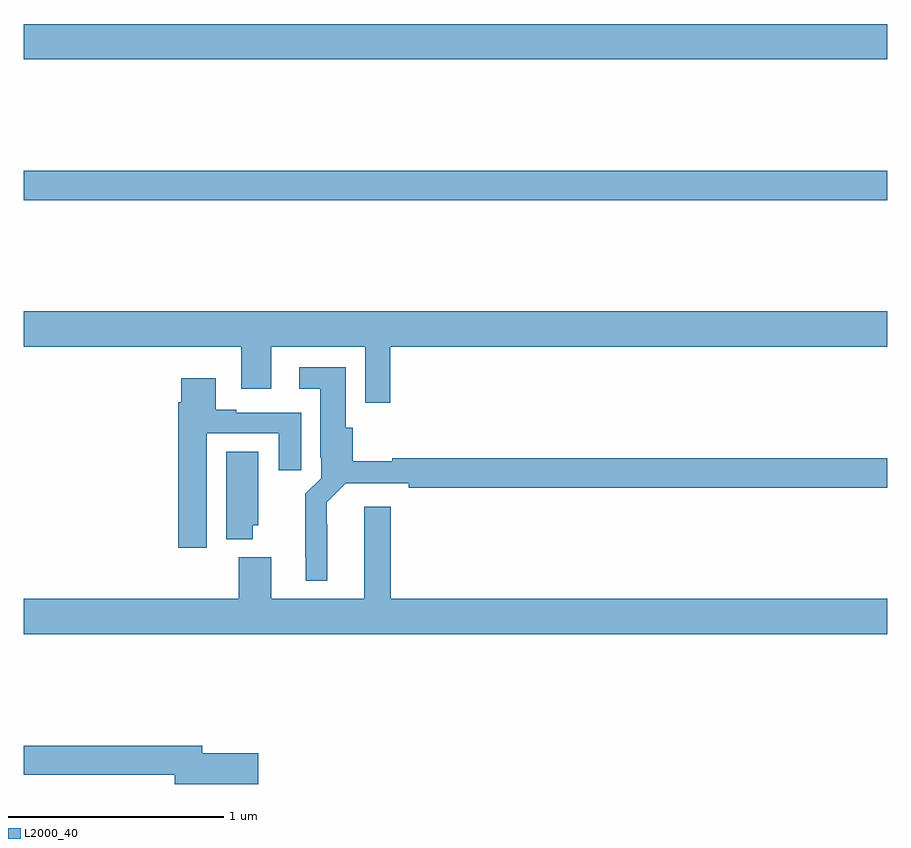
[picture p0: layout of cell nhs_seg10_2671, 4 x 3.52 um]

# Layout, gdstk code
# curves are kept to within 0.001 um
import gdstk
lib = gdstk.Library(unit=1e-6, precision=1e-09)
def R(c, l, rs):  # rectangles x0, y0, x1, y1
    for r in rs: c.add(gdstk.rectangle(r[:2], r[2:], *l))
def P(c, l, *ps):  # polygons
    for p in ps: c.add(gdstk.Polygon(p, *l))
L2000_40 = (2000, 40)

nhs_seg10_2671 = lib.new_cell('nhs_seg10_2671')
R(nhs_seg10_2671, L2000_40, [(255,1315.648,259,1315.784), (255,1316.3,259,1316.464)])
P(nhs_seg10_2671, L2000_40, [(256.697,1314.968),(259,1314.968),(259,1315.132),(255,1315.132),(255,1314.968),(256.007,1314.968),(256.007,1314.774),(256.147,1314.774),(256.147,1314.968),(256.581,1314.968),(256.581,1314.708),(256.697,1314.708)],
  [(256.405,1314.146),(256.404,1314.248),(256.492,1314.336),(256.783,1314.336),(256.783,1314.316),(259,1314.316),(259,1314.452),(256.706,1314.452),(256.706,1314.437),(256.523,1314.437),(256.523,1314.594),(256.492,1314.594),(256.492,1314.874),(256.275,1314.874),(256.275,1314.773),(256.373,1314.773),(256.373,1314.454),(256.377,1314.454),(256.377,1314.36),(256.303,1314.286),(256.303,1313.995),(256.307,1313.995),(256.307,1313.885),(256.405,1313.885)],
  [(255.847,1314.567),(256.181,1314.567),(256.181,1314.396),(256.285,1314.396),(256.285,1314.663),(255.985,1314.663),(255.985,1314.676),(255.889,1314.676),(255.889,1314.823),(255.728,1314.823),(255.728,1314.71),(255.716,1314.71),(255.716,1314.036),(255.847,1314.036)],
  [(256.06,1314.141),(256.087,1314.141),(256.087,1314.482),(255.938,1314.482),(255.938,1314.077),(256.06,1314.077)],
  [(259,1313.8),(256.7,1313.8),(256.7,1314.226),(256.577,1314.226),(256.577,1313.8),(256.147,1313.8),(256.147,1313.992),(255.995,1313.992),(255.995,1313.8),(255,1313.8),(255,1313.636),(259,1313.636)],
  [(256.087,1313.084),(255.826,1313.084),(255.826,1313.12),(255,1313.12),(255,1312.984),(255.698,1312.984),(255.698,1312.942),(256.087,1312.942)])

lib.write_gds('nhs_seg10_2671.gds')
